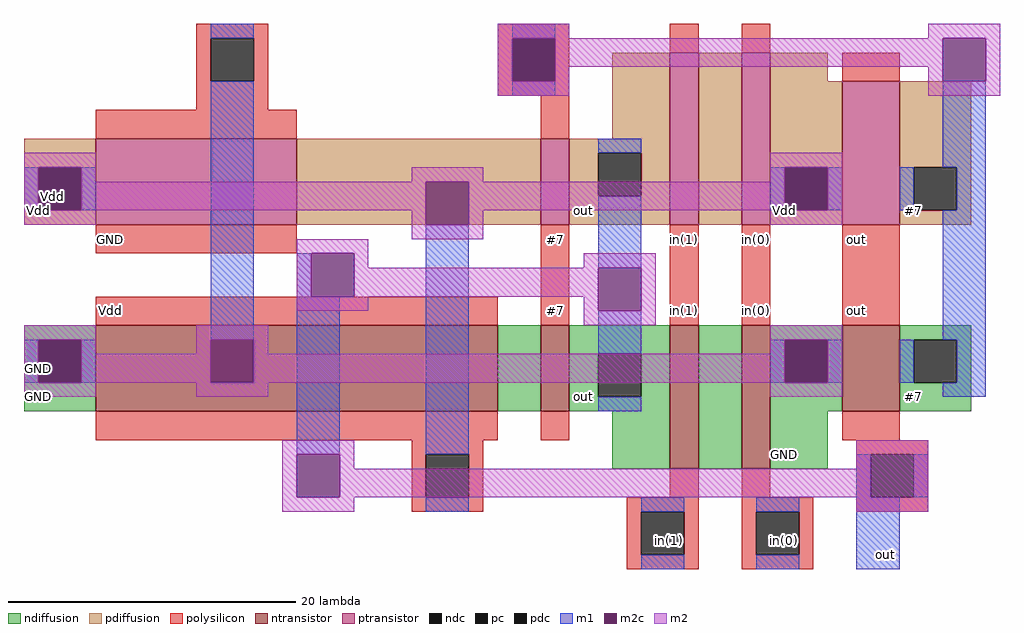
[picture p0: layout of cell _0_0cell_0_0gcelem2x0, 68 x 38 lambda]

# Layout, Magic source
magic
tech sky130l
<< ndiffusion >>
rect 8 15 13 16
rect 8 12 9 15
rect 12 12 13 15
rect 8 10 13 12
rect 41 10 44 16
rect 46 14 53 16
rect 46 11 48 14
rect 51 11 53 14
rect 46 10 53 11
rect 49 6 53 10
rect 55 6 58 16
rect 60 15 65 16
rect 60 12 61 15
rect 64 12 65 15
rect 60 10 65 12
rect 69 15 74 16
rect 69 12 70 15
rect 73 12 74 15
rect 69 10 74 12
rect 60 6 64 10
<< ndc >>
rect 9 12 12 15
rect 48 11 51 14
rect 61 12 64 15
rect 70 12 73 15
<< ntransistor >>
rect 13 10 41 16
rect 44 10 46 16
rect 53 6 55 16
rect 58 6 60 16
rect 65 10 69 16
<< pdiffusion >>
rect 49 29 53 35
rect 8 27 13 29
rect 8 24 9 27
rect 12 24 13 27
rect 8 23 13 24
rect 27 23 44 29
rect 46 28 53 29
rect 46 25 48 28
rect 51 25 53 28
rect 46 23 53 25
rect 55 23 58 35
rect 60 33 64 35
rect 60 27 65 33
rect 60 24 61 27
rect 64 24 65 27
rect 60 23 65 24
rect 69 27 74 33
rect 69 24 70 27
rect 73 24 74 27
rect 69 23 74 24
<< pdc >>
rect 9 24 12 27
rect 48 25 51 28
rect 61 24 64 27
rect 70 24 73 27
<< ptransistor >>
rect 13 23 27 29
rect 44 23 46 29
rect 53 23 55 35
rect 58 23 60 35
rect 65 23 69 33
<< polysilicon >>
rect 20 36 25 37
rect 20 33 21 36
rect 24 33 25 36
rect 20 31 25 33
rect 41 36 46 37
rect 41 33 42 36
rect 45 33 46 36
rect 53 35 55 37
rect 58 35 60 37
rect 41 32 46 33
rect 13 29 27 31
rect 44 29 46 32
rect 65 33 69 35
rect 13 21 27 23
rect 13 16 41 18
rect 44 16 46 23
rect 53 16 55 23
rect 58 16 60 23
rect 65 16 69 23
rect 13 8 41 10
rect 44 8 46 10
rect 35 7 40 8
rect 35 4 36 7
rect 39 4 40 7
rect 65 8 69 10
rect 66 7 71 8
rect 53 4 55 6
rect 35 3 40 4
rect 50 3 55 4
rect 50 0 51 3
rect 54 0 55 3
rect 50 -1 55 0
rect 58 4 60 6
rect 66 4 67 7
rect 70 4 71 7
rect 58 3 63 4
rect 66 3 71 4
rect 58 0 59 3
rect 62 0 63 3
rect 58 -1 63 0
<< pc >>
rect 21 33 24 36
rect 42 33 45 36
rect 36 4 39 7
rect 51 0 54 3
rect 67 4 70 7
rect 59 0 62 3
<< m1 >>
rect 21 36 24 37
rect 8 24 9 27
rect 12 24 13 27
rect 21 15 24 33
rect 42 36 45 37
rect 42 32 45 33
rect 48 28 51 29
rect 8 12 9 15
rect 12 12 13 15
rect 27 18 28 21
rect 27 7 30 18
rect 36 7 39 23
rect 72 27 75 33
rect 48 20 51 25
rect 60 24 61 27
rect 64 24 65 27
rect 69 24 70 27
rect 73 24 75 27
rect 48 14 51 17
rect 72 15 75 24
rect 60 12 61 15
rect 64 12 65 15
rect 69 12 70 15
rect 73 12 75 15
rect 72 11 75 12
rect 48 10 51 11
rect 66 4 67 7
rect 70 4 71 7
rect 36 3 39 4
rect 51 3 54 4
rect 51 -1 54 0
rect 59 3 62 4
rect 59 -1 62 0
rect 66 -1 69 4
<< m2c >>
rect 9 24 12 27
rect 42 33 45 36
rect 72 33 75 36
rect 36 23 39 26
rect 9 12 12 15
rect 21 12 24 15
rect 28 18 31 21
rect 27 4 30 7
rect 61 24 64 27
rect 48 17 51 20
rect 61 12 64 15
<< m2 >>
rect 41 36 46 37
rect 71 36 76 37
rect 41 33 42 36
rect 45 34 72 36
rect 45 33 46 34
rect 41 32 46 33
rect 71 33 72 34
rect 75 33 76 36
rect 71 32 76 33
rect 8 27 13 28
rect 60 27 65 28
rect 8 24 9 27
rect 12 26 13 27
rect 35 26 40 27
rect 60 26 61 27
rect 12 24 36 26
rect 8 23 13 24
rect 35 23 36 24
rect 39 24 61 26
rect 64 24 65 27
rect 39 23 40 24
rect 60 23 65 24
rect 35 22 40 23
rect 27 21 32 22
rect 27 18 28 21
rect 31 20 32 21
rect 47 20 52 21
rect 31 18 48 20
rect 27 17 32 18
rect 47 17 48 18
rect 51 17 52 20
rect 47 16 52 17
rect 8 15 13 16
rect 8 12 9 15
rect 12 14 13 15
rect 20 15 25 16
rect 20 14 21 15
rect 12 12 21 14
rect 24 14 25 15
rect 60 15 65 16
rect 60 14 61 15
rect 24 12 61 14
rect 64 12 65 15
rect 8 11 13 12
rect 20 11 25 12
rect 60 11 65 12
rect 26 7 31 8
rect 26 4 27 7
rect 30 6 31 7
rect 66 6 71 8
rect 30 4 71 6
rect 26 3 31 4
rect 66 3 71 4
<< labels >>
rlabel pdiffusion 70 24 70 24 3 #7
rlabel polysilicon 66 17 66 17 3 out
rlabel polysilicon 66 22 66 22 3 out
rlabel ndiffusion 70 11 70 11 3 #7
rlabel pdiffusion 61 24 61 24 3 Vdd
rlabel polysilicon 59 17 59 17 3 in(0)
rlabel polysilicon 59 22 59 22 3 in(0)
rlabel ndiffusion 61 7 61 7 3 GND
rlabel polysilicon 54 17 54 17 3 in(1)
rlabel polysilicon 54 22 54 22 3 in(1)
rlabel ndiffusion 47 11 47 11 3 out
rlabel pdiffusion 47 24 47 24 3 out
rlabel polysilicon 45 17 45 17 3 #7
rlabel polysilicon 45 22 45 22 3 #7
rlabel polysilicon 14 17 14 17 3 Vdd
rlabel polysilicon 14 22 14 22 3 GND
rlabel ndiffusion 9 11 9 11 3 GND
rlabel pdiffusion 9 24 9 24 3 Vdd
rlabel pc 53 1 53 1 3 in(1)
port 3 e
rlabel m2c 10 25 10 25 3 Vdd
port 2 e
rlabel pc 61 1 61 1 3 in(0)
port 5 e
rlabel m1 68 0 68 0 3 out
port 4 e
rlabel m1 9 13 9 13 3 GND
port 1 e
<< end >>
